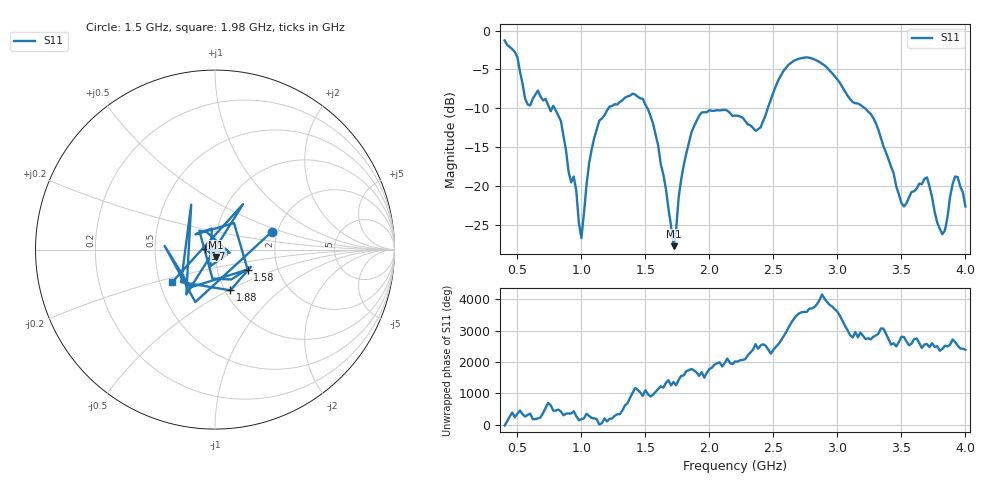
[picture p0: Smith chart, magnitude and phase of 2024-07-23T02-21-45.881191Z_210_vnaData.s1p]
!Created with skrf (http://scikit-rf.org).
# Hz S RI R 50.0
!freq ReS11 ImS11
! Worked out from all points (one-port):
!   181 points, 400 MHz to 4 GHz, reference 50 ohm
!   lowest |S11| = -27.8 dB at 1.72 GHz (marker M1), VSWR 1.09, Z = 50.4 - j4.09 ohm
!   |S11| at or under -10 dB: 790.3 MHz to 1.212 GHz (421.5 MHz wide, 42.1 % of centre); 1.516 GHz to 2.456 GHz (940.4 MHz wide, 47.3 % of centre); 3.215 GHz to end of sweep (the widest 3 of 4)
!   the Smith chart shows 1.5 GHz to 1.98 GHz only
!   S11 on the Smith chart (normalised r, x): 1.5 GHz: 1.87, +0.42; 1.58 GHz: 1.40, -0.33; 1.7 GHz: 0.90, +0.01; 1.88 GHz: 1.06, -0.51; 1.98 GHz: 0.58, -0.23
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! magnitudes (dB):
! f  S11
! 400 MHz  -1.3
! 500 MHz  -3.4
! 580 MHz  -9.5
! 660 MHz  -7.7
! 860 MHz  -13.6
! 960 MHz  -20.6
! 1 GHz  -26.7
! 1.1 GHz  -13.8
! 1.3 GHz  -9.2
! 1.5 GHz  -9.6
! 1.58 GHz  -13.4
! 1.7 GHz  -25.1
! 1.72 GHz  -27.8
! 1.76 GHz  -21.5
! 1.88 GHz  -12.3
! 1.98 GHz  -10.5
! 2.2 GHz  -11.0
! 2.4 GHz  -12.5
! 2.66 GHz  -3.9
! 2.88 GHz  -4.3
! 3.1 GHz  -8.8
! 3.28 GHz  -11.2
! 3.5 GHz  -22.2
! 3.56 GHz  -21.5
! 3.7 GHz  -18.9
! 3.82 GHz  -26.2
! 3.92 GHz  -18.8
! 4 GHz  -22.7
